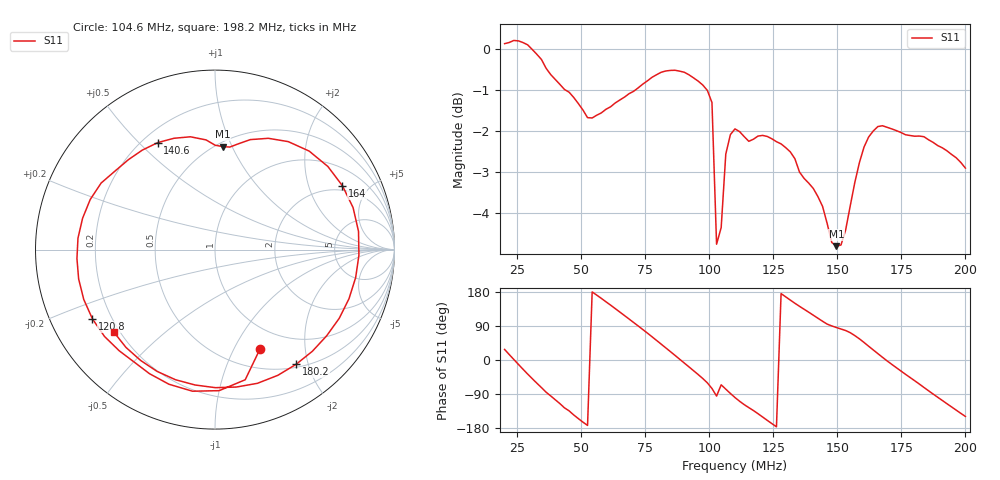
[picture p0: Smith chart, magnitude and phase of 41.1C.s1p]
# HZ S RI R 50
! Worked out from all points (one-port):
!   101 points, 20 MHz to 200 MHz, reference 50 ohm
!   lowest |S11| = -4.8 dB at 149.6 MHz (marker M1), VSWR 3.71, Z = 26.9 + j46.1 ohm
!   |S11| at or under -10 dB: nowhere
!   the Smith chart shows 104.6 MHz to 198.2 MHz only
!   S11 on the Smith chart (normalised r, x): 104.6 MHz: 0.73, -1.28; 120.8 MHz: 0.13, -0.26; 140.6 MHz: 0.26, +0.57; 164 MHz: 1.75, +3.38; 180.2 MHz: 0.55, -1.80; 198.2 MHz: 0.18, -0.35
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2e7  0.8967 0.4735
2.54e7  1.001 -0.2059
3.26e7  0.4745 -0.8623
3.8e7  -0.0768 -0.9269
4.34e7  -0.529 -0.7183
5.42e7  -0.8237 0.00543
6.5e7  -0.516 0.6956
7.58e7  0.2991 0.8636
8.3e7  0.7984 0.495
8.84e7  0.9384 0.0319
9.38e7  0.8125 -0.4346
9.92e7  0.4413 -0.7726
1.01e8  0.2201 -0.8314
1.028e8  -0.0522 -0.5762
1.046e8  0.2519 -0.5514
1.1e8  -0.1255 -0.789
1.208e8  -0.6826 -0.3864
1.334e8  -0.6343 0.371
1.406e8  -0.319 0.5962
1.496e8  0.0428 0.5738
1.55e8  0.1969 0.6128
1.64e8  0.71 0.3557
1.712e8  0.7836 -0.1561
1.784e8  0.5424 -0.5664
1.802e8  0.4517 -0.6393
1.892e8  -0.1113 -0.7543
1.982e8  -0.5631 -0.4603
2e8  -0.6131 -0.3697
